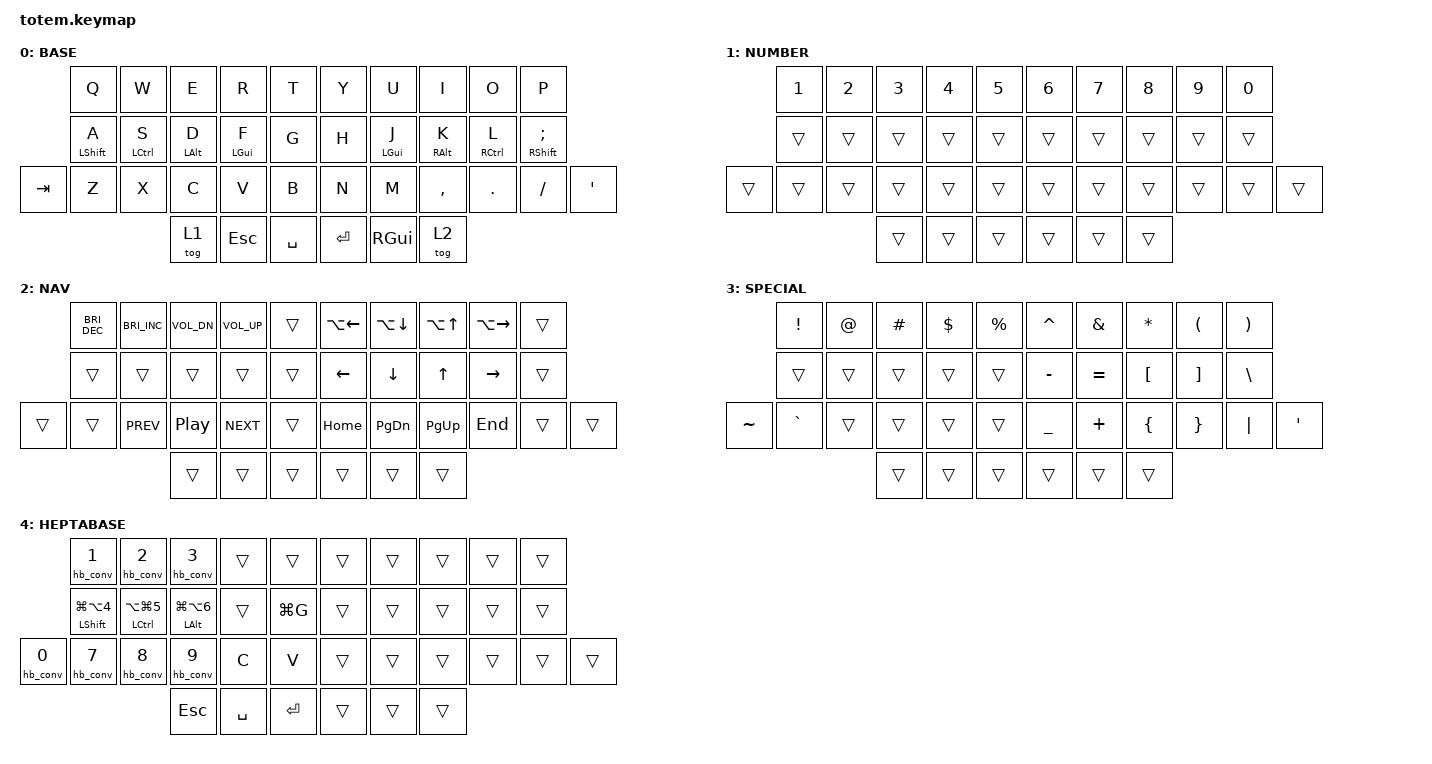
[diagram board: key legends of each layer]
//
//                                                        ▀▀▀▀▀     ▀▀▀▀▀          ▀▀█▀▀
//                                                        ▄▀▀▀▄  ▄  ▄▀▀▀▄  ▄  ▄▀▀▀▄  █  ▄▀▀▀▄
//                                                        █   █  █  █   █  █  █   █  █  █   █
//                                                         ▀▀▀   █   ▀▀▀   █   ▀▀▀   ▀   ▀▀▀
//                                                               █      ▄▄▄█▄▄▄    █   █  
//                                                               ▀      █  █  █     █▄█
//                                                             ▀▀▀▀▀    █  █  █      ▀
//                                                                      ▀  ▀  ▀
//
// ▄▄▄▄▄▄▄▄▄▄▄▄▄▄▄▄▄▄▄▄▄▄▄▄▄▄▄▄▄▄▄▄▄▄▄▄▄▄▄▄▄▄▄▄▄▄▄▄▄▄▄▄▄▄▄▄▄▄▄▄▄▄▄▄▄▄▄▄▄▄▄▄▄▄▄▄▄▄▄▄▄▄▄▄▄▄▄▄▄▄▄▄▄▄▄▄▄▄▄▄▄▄▄▄▄▄▄▄▄▄▄▄▄▄▄▄▄▄▄▄▄▄▄▄▄▄▄▄▄▄▄▄▄▄▄▄▄▄▄▄▄▄▄▄▄▄▄▄▄

#include <behaviors.dtsi>
#include <dt-bindings/zmk/bt.h>
#include <dt-bindings/zmk/keys.h>

#define BASE 0
#define NAV  1
#define SYM  2
#define ADJ  3
#define TVP1 4
#define TVP2 5

&sk { quick-release; };

/ {
    combos {
        compatible = "zmk,combos";

        delete {
            bindings = <&kp DELETE>;
            key-positions = <18 17>;
        };

        backspace {
            bindings = <&kp BACKSPACE>;
            key-positions = <17 16>;
        };

        bt_clear_profile {
            bindings = <&bt BT_CLR>;
            key-positions = <20 11 12 13>;
        };

        bt_sel_0 {
            bindings = <&bt BT_SEL 0>;
            key-positions = <25 24 20>;
        };

        bt_sel_1 {
            bindings = <&bt BT_SEL 1>;
            key-positions = <14 13 20>;
        };

        bt_sel_2 {
            bindings = <&bt BT_SEL 2>;
            key-positions = <4 3 20>;
        };

        caps {
            bindings = <&caps_word>;
            key-positions = <13 16>;
        };

        heptabase_highlight {
            bindings = <&hb_hl>;
            key-positions = <12 13 11>;
            layers = <4>;
        };

        cmd {
            bindings = <&kp LEFT_COMMAND>;
            key-positions = <33 34>;
        };

        alt {
            bindings = <&kp LEFT_ALT>;
            key-positions = <35 36>;
        };

        stick_shift {
            bindings = <&sk LEFT_SHIFT>;
            key-positions = <13 12>;
            layers = <0 1 2 3>;
        };

        to_heptabase {
            bindings = <&tog 4>;
            key-positions = <0 1 2 3>;
        };

        undo {
            bindings = <&kp LG(Z)>;
            key-positions = <0 1>;
            require-prior-idle-ms = <100>;
        };

        redo {
            bindings = <&kp LS(LG(Z))>;
            key-positions = <2 3>;
            require-prior-idle-ms = <100>;
        };

        heptabase_del {
            bindings = <&kp DEL>;
            key-positions = <12 13>;
            layers = <4>;
        };

        switch_lang {
            bindings = <&kp CAPS>;
            key-positions = <34 35>;
        };
    };

    behaviors {
        hml: homewrow_mods_left {
            compatible = "zmk,behavior-hold-tap";
            label = "HOMEROW_MODS_LEFT_HAND";
            bindings = <&kp>, <&kp>;

            #binding-cells = <2>;
            tapping-term-ms = <280>;
            hold-trigger-key-positions = <35 36 37 26 27 28 29 30 31 15 16 17 18 19 5 6 7 8 9>;
            flavor = "balanced";
            hold-trigger-on-release;
            quick-tap-ms = <175>;
        };

        hmr: homewrow_mods_right {
            compatible = "zmk,behavior-hold-tap";
            label = "HOMEROW_MODS_RIGHT_HAND";
            bindings = <&kp>, <&kp>;

            #binding-cells = <2>;
            tapping-term-ms = <280>;
            hold-trigger-key-positions = <0 10 20 21 1 2 3 4 11 12 13 14 22 23 24 25 32 33 34>;
            require-prior-idle-ms = <175>;
            flavor = "balanced";
            hold-trigger-on-release;
        };
    };

    macros {
        hb_hl: hb_hl {
            compatible = "zmk,behavior-macro";
            #binding-cells = <0>;
            bindings =
                <&macro_press>,
                <&kp LCMD &kp LEFT_SHIFT>,
                <&macro_tap>,
                <&kp H>,
                <&macro_release>,
                <&kp LCMD &kp LEFT_SHIFT>;

            label = "HB_HL";
        };

        hb_conv: hb_conv {
            compatible = "zmk,behavior-macro-one-param";
            #binding-cells = <1>;
            bindings =
                <&macro_press>,
                <&kp LCMD &kp LEFT_ALT &macro_param_1to1>,
                <&macro_tap>,
                <&kp MACRO_PLACEHOLDER>,
                <&macro_release>,
                <&kp LCMD &kp LEFT_ALT>;

            label = "HB_CONV";
        };
    };

    keymap {
        compatible = "zmk,keymap";

        // ▄▄▄▄▄▄▄▄▄▄▄▄▄▄▄▄▄▄▄▄▄▄▄▄▄▄▄▄▄▄▄▄▄▄▄▄▄▄▄▄▄▄▄▄▄▄▄▄▄▄▄▄▄▄▄▄▄▄▄▄▄▄▄▄▄▄▄▄▄▄▄▄▄▄▄▄▄▄▄▄▄▄▄▄▄▄▄▄▄▄▄▄▄▄▄▄▄▄▄▄▄▄▄▄▄▄▄▄▄▄▄▄▄▄▄▄▄▄▄▄▄▄▄▄▄▄▄▄▄▄▄▄▄▄▄▄▄▄▄▄▄▄▄▄▄▄▄▄▄

        base_layer {
            // ┏━━━━━━━━━━━━━━━━━━━━━━━━━━━━━━━━━━━━━━━┓

            label = "BASE";

            // ┗━━━━━━━━━━━━━━━━━━━━━━━━━━━━━━━━━━━━━━━┛
            //             ┏━━━━━━━━━━━┳━━━━━━━━━━━┳━━━━━━━━━━━┳━━━━━━━━━━━┳━━━━━━━━━━━┓   ┏━━━━━━━━━━━┳━━━━━━━━━━━┳━━━━━━━━━━━┳━━━━━━━━━━━┳━━━━━━━━━━━┓
            //             ┃     Q     ┃     W     ┃     F     ┃     P     ┃     G     ┃   ┃     J     ┃     L     ┃     U     ┃     Y     ┃     ;     ┃
            //             ┣━━━━━━━━━━━╋━━━━━━━━━━━╋━━━━━━━━━━━╋━━━━━━━━━━━╋━━━━━━━━━━━┫   ┣━━━━━━━━━━━╋━━━━━━━━━━━╋━━━━━━━━━━━╋━━━━━━━━━━━╋━━━━━━━━━━━┫
            //             ┃     A     ┃     R     ┃     S     ┃     T     ┃     D     ┃   ┃     H     ┃     N     ┃     E     ┃     I     ┃     O     ┃
            // ┏━━━━━━━━━━━╋━━━━━━━━━━━╋━━━━━━━━━━━╋━━━━━━━━━━━╋━━━━━━━━━━━╋━━━━━━━━━━━┫   ┣━━━━━━━━━━━╋━━━━━━━━━━━╋━━━━━━━━━━━╋━━━━━━━━━━━╋━━━━━━━━━━━╋━━━━━━━━━━━┓
            // ┃     Q     ┃     Z     ┃     X     ┃     C     ┃     V     ┃     B     ┃   ┃     K     ┃     M     ┃     ,     ┃     .     ┃     /     ┃     \     ┃
            // ┗━━━━━━━━━━━┻━━━━━━━━━━━┻━━━━━━━━━━━╋━━━━━━━━━━━╋━━━━━━━━━━━╋━━━━━━━━━━━┫   ┣━━━━━━━━━━━╋━━━━━━━━━━━╋━━━━━━━━━━━╋━━━━━━━━━━━┻━━━━━━━━━━━┻━━━━━━━━━━━┛
            //                                     ┃    DEL    ┃    TAB    ┃    SPC    ┃   ┃   ENTER   ┃           ┃   BSPC    ┃
            //                                     ┗━━━━━━━━━━━┻━━━━━━━━━━━┻━━━━━━━━━━━┛   ┗━━━━━━━━━━━┻━━━━━━━━━━━┻━━━━━━━━━━━┛

            bindings = <
         &kp Q              &kp W         &kp E            &kp R            &kp T      &kp Y      &kp U            &kp I             &kp O         &kp P
         &hml LEFT_SHIFT A  &hml LCTRL S  &hml LEFT_ALT D  &hml LEFT_GUI F  &kp G      &kp H      &hmr LEFT_GUI J  &hmr RIGHT_ALT K  &hmr RCTRL L  &hmr RIGHT_SHIFT SEMICOLON
&kp TAB  &kp Z              &kp X         &kp C            &kp V            &kp B      &kp N      &kp M            &kp COMMA         &kp DOT       &kp FSLH                    &kp SQT
                                          &tog 1           &kp ESCAPE       &kp SPACE  &kp ENTER  &kp RIGHT_GUI    &tog 2
            >;
        };

        numbers_layer {
            bindings = <
        &kp NUMBER_1  &kp NUMBER_2  &kp NUMBER_3  &kp NUMBER_4  &kp NUMBER_5  &kp NUMBER_6  &kp NUMBER_7  &kp N8  &kp NUMBER_9  &kp N0
        &trans        &trans        &trans        &trans        &trans        &trans        &trans        &trans  &trans        &trans
&trans  &trans        &trans        &trans        &trans        &trans        &trans        &trans        &trans  &trans        &trans  &trans
                                    &trans        &trans        &trans        &trans        &trans        &trans
            >;

            label = "NUMBER";
        };

        nav_layer {
            bindings = <
        &kp C_BRIGHTNESS_DEC  &kp C_BRIGHTNESS_INC  &kp C_VOL_DN      &kp C_VOLUME_UP  &trans  &kp LA(LEFT)  &kp LA(DOWN)  &kp LA(UP)  &kp LA(RIGHT)  &trans
        &trans                &trans                &trans            &trans           &trans  &kp LEFT      &kp DOWN      &kp UP      &kp RIGHT      &trans
&trans  &trans                &kp C_PREV            &kp C_PLAY_PAUSE  &kp C_NEXT       &trans  &kp HOME      &kp PG_DN     &kp PG_UP   &kp END        &trans  &trans
                                                    &trans            &trans           &trans  &trans        &trans        &trans
            >;

            label = "NAV";
        };

        special_char_layer {
            bindings = <
           &kp EXCLAMATION  &kp AT_SIGN  &kp POUND  &kp DOLLAR  &kp PERCENT  &kp CARET       &kp AMPERSAND  &kp ASTERISK      &kp LEFT_PARENTHESIS  &kp RIGHT_PARENTHESIS
           &trans           &trans       &trans     &trans      &trans       &kp MINUS       &kp EQUAL      &kp LEFT_BRACKET  &kp RIGHT_BRACKET     &kp BACKSLASH
&kp TILDE  &kp GRAVE        &trans       &trans     &trans      &trans       &kp UNDERSCORE  &kp PLUS       &kp LEFT_BRACE    &kp RIGHT_BRACE       &kp PIPE               &kp SQT
                                         &trans     &trans      &trans       &trans          &trans         &trans
            >;

            label = "SPECIAL";
        };

        heptabase {
            bindings = <
             &hb_conv NUMBER_1                 &hb_conv NUMBER_2             &hb_conv NUMBER_3               &trans     &trans     &trans  &trans  &trans  &trans  &trans
             &hml LEFT_SHIFT LG(LA(NUMBER_4))  &hml LEFT_CONTROL LA(LG(N5))  &hml LEFT_ALT LG(LA(NUMBER_6))  &trans     &kp LG(G)  &trans  &trans  &trans  &trans  &trans
&hb_conv N0  &hb_conv N7                       &hb_conv N8                   &hb_conv N9                     &kp C      &kp V      &trans  &trans  &trans  &trans  &trans  &trans
                                                                             &kp ESCAPE                      &kp SPACE  &kp ENTER  &trans  &trans  &trans
            >;

            label = "HEPTABASE";
        };

        // ▄▄▄▄▄▄▄▄▄▄▄▄▄▄▄▄▄▄▄▄▄▄▄▄▄▄▄▄▄▄▄▄▄▄▄▄▄▄▄▄▄▄▄▄▄▄▄▄▄▄▄▄▄▄▄▄▄▄▄▄▄▄▄▄▄▄▄▄▄▄▄▄▄▄▄▄▄▄▄▄▄▄▄▄▄▄▄▄▄▄▄▄▄▄▄▄▄▄▄▄▄▄▄▄▄▄▄▄▄▄▄▄▄▄▄▄▄▄▄▄▄▄▄▄▄▄▄▄▄▄▄▄▄▄▄▄▄▄▄▄▄▄▄▄▄▄▄▄▄
        // ▄▄▄▄▄▄▄▄▄▄▄▄▄▄▄▄▄▄▄▄▄▄▄▄▄▄▄▄▄▄▄▄▄▄▄▄▄▄▄▄▄▄▄▄▄▄▄▄▄▄▄▄▄▄▄▄▄▄▄▄▄▄▄▄▄▄▄▄▄▄▄▄▄▄▄▄▄▄▄▄▄▄▄▄▄▄▄▄▄▄▄▄▄▄▄▄▄▄▄▄▄▄▄▄▄▄▄▄▄▄▄▄▄▄▄▄▄▄▄▄▄▄▄▄▄▄▄▄▄▄▄▄▄▄▄▄▄▄▄▄▄▄▄▄▄▄▄▄▄
        // ▄▄▄▄▄▄▄▄▄▄▄▄▄▄▄▄▄▄▄▄▄▄▄▄▄▄▄▄▄▄▄▄▄▄▄▄▄▄▄▄▄▄▄▄▄▄▄▄▄▄▄▄▄▄▄▄▄▄▄▄▄▄▄▄▄▄▄▄▄▄▄▄▄▄▄▄▄▄▄▄▄▄▄▄▄▄▄▄▄▄▄▄▄▄▄▄▄▄▄▄▄▄▄▄▄▄▄▄▄▄▄▄▄▄▄▄▄▄▄▄▄▄▄▄▄▄▄▄▄▄▄▄▄▄▄▄▄▄▄▄▄▄▄▄▄▄▄▄▄
        // ▄▄▄▄▄▄▄▄▄▄▄▄▄▄▄▄▄▄▄▄▄▄▄▄▄▄▄▄▄▄▄▄▄▄▄▄▄▄▄▄▄▄▄▄▄▄▄▄▄▄▄▄▄▄▄▄▄▄▄▄▄▄▄▄▄▄▄▄▄▄▄▄▄▄▄▄▄▄▄▄▄▄▄▄▄▄▄▄▄▄▄▄▄▄▄▄▄▄▄▄▄▄▄▄▄▄▄▄▄▄▄▄▄▄▄▄▄▄▄▄▄▄▄▄▄▄▄▄▄▄▄▄▄▄▄▄▄▄▄▄▄▄▄▄▄▄▄▄▄
    };

    conditional_layers {
        compatible = "zmk,conditional-layers";

        special {
            if-layers = <1 2>;
            then-layer = <3>;
        };
    };
};
